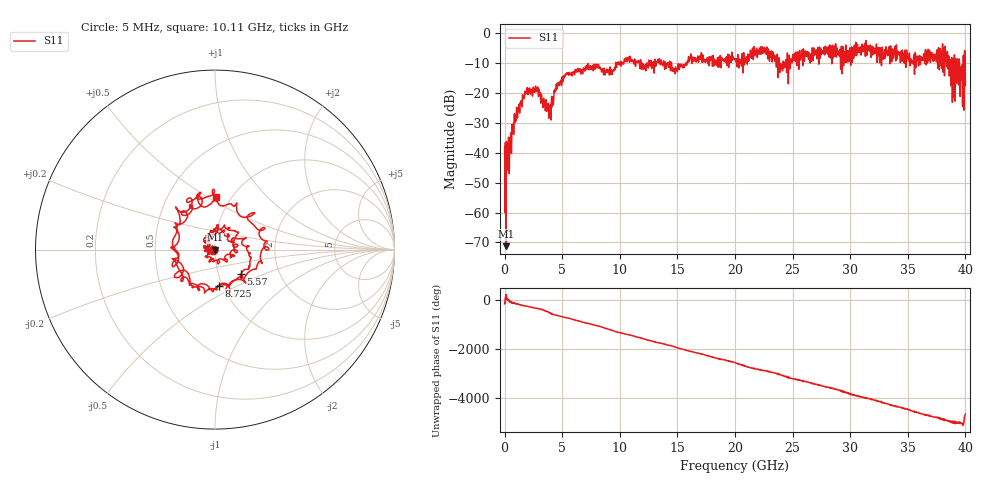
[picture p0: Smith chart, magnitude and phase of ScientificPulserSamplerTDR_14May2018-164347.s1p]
! C:\Work\PySI\TestSignalIntegrity\ScientificPulserSampler\ScientificPulserSamplerTDR_14May2018-164347.s1p
! Mon May 14 16:43:47 2018
!!Measured using LeCroy SPARQ LCRY2401N02001
!SingleEnded
! freq S11
# MHz S MA R 50.00
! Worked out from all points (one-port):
!   8000 points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, 5 MHz to 40 GHz, reference 50 ohm
!   lowest |S11| = -71.2 dB at 120 MHz (marker M1), VSWR 1.00, Z = 50 - j0.0102 ohm
!   |S11| at or under -10 dB: start of sweep to 9.648 GHz; 11.93 GHz to 12.41 GHz (482.5 MHz wide, 3.96 % of centre); 14.49 GHz to 15.74 GHz (1.253 GHz wide, 8.29 % of centre) (the widest 3 of 96)
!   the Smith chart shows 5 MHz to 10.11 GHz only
!   S11 on the Smith chart (normalised r, x): 5 MHz: 0.98, -0.00; 5.57 GHz: 1.28, -0.37; 8.725 GHz: 0.96, -0.40; 10.11 GHz: 0.85, +0.54
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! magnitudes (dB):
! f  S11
! 5 MHz  -38.3
! 120 MHz  -71.2
! 305 MHz  -41.3
! 1.02 GHz  -26.5
! 1.79 GHz  -19.7
! 2.845 GHz  -19.0
! 3.85 GHz  -28.3
! 4.485 GHz  -17.2
! 5.005 GHz  -14.7
! 5.57 GHz  -14.0
! 8.085 GHz  -11.0
! 8.725 GHz  -13.9
! 10.01 GHz  -10.3
! 10.11 GHz  -10.7
! 13.44 GHz  -8.6
! 15.01 GHz  -12.7
! 16.16 GHz  -7.2
! 20 GHz  -9.0
! 22.43 GHz  -5.2
! 23.92 GHz  -12.3
! 25 GHz  -8.2
! 27.92 GHz  -6.1
! 30 GHz  -6.0
! 31.2 GHz  -5.7
! 35.01 GHz  -8.4
! 38.09 GHz  -11.6
! 38.92 GHz  -8.8
! 40 GHz  -17.5
